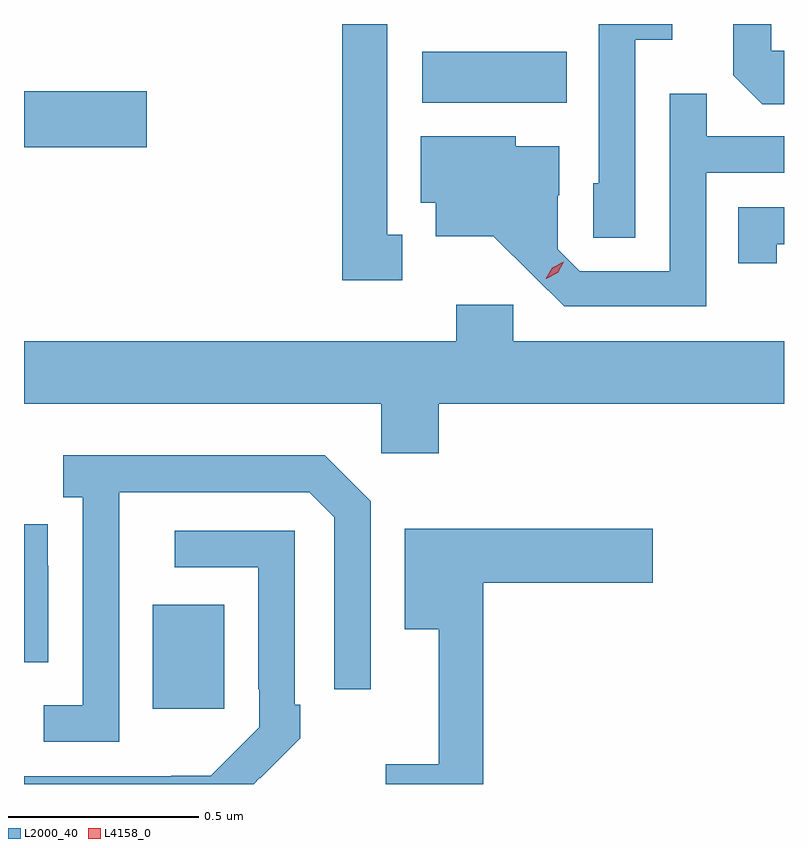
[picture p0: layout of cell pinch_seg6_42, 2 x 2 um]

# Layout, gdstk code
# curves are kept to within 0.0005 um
import gdstk
lib = gdstk.Library(unit=1e-6, precision=1e-09)
def R(c, l, rs):  # rectangles x0, y0, x1, y1
    for r in rs: c.add(gdstk.rectangle(r[:2], r[2:], *l))
def P(c, l, *ps):  # polygons
    for p in ps: c.add(gdstk.Polygon(p, *l))
L2000_40 = (2000, 40)
L4158_0 = (4158, 0)

pinch_seg6_42 = lib.new_cell('pinch_seg6_42')
R(pinch_seg6_42, L2000_40, [(887.027,990.489,887.215,990.763), (886.688,991.967,887.011,992.114), (887.736,992.084,888.116,992.218)])
P(pinch_seg6_42, L2000_40, [(888.688,992.22),(888.654,992.22),(888.654,992.291),(888.555,992.291),(888.555,992.156),(888.631,992.08),(888.688,992.08)],
  [(887.683,991.737),(887.644,991.737),(887.644,992.291),(887.526,992.291),(887.526,991.617),(887.683,991.617)],
  [(888.297,992.249),(888.394,992.249),(888.394,992.291),(888.201,992.291),(888.201,991.872),(888.186,991.872),(888.186,991.729),(888.297,991.729)],
  [(888.483,991.899),(888.688,991.899),(888.688,991.995),(888.485,991.995),(888.485,992.108),(888.387,992.108),(888.387,991.641),(888.15,991.641),(888.093,991.698),(888.093,991.84),(888.097,991.84),(888.097,991.969),(887.982,991.969),(887.982,991.996),(887.732,991.996),(887.732,991.82),(887.771,991.82),(887.771,991.733),(887.923,991.733),(888.11,991.548),(888.483,991.548)],
  [(888.669,991.711),(888.688,991.711),(888.688,991.809),(888.568,991.809),(888.568,991.662),(888.669,991.662)],
  [(886.688,991.292),(887.628,991.292),(887.628,991.161),(887.78,991.161),(887.78,991.292),(888.688,991.292),(888.688,991.456),(887.976,991.456),(887.976,991.552),(887.825,991.552),(887.825,991.456),(886.688,991.456)],
  [(886.938,990.859),(886.939,990.859),(886.939,991.059),(887.439,991.059),(887.505,990.993),(887.505,990.54),(887.601,990.54),(887.601,991.035),(887.48,991.156),(886.791,991.156),(886.791,991.046),(886.842,991.046),(886.842,990.498),(886.74,990.498),(886.74,990.402),(886.938,990.402)],
  [(886.752,990.866),(886.751,990.866),(886.751,990.975),(886.688,990.975),(886.688,990.612),(886.752,990.612)],
  [(887.897,990.821),(888.343,990.821),(888.343,990.963),(887.69,990.963),(887.69,990.698),(887.78,990.698),(887.78,990.343),(887.64,990.343),(887.64,990.291),(887.897,990.291)],
  [(887.309,990.307),(887.31,990.306),(887.415,990.411),(887.415,990.499),(887.4,990.499),(887.4,990.957),(887.085,990.957),(887.085,990.861),(887.304,990.861),(887.304,990.541),(887.307,990.541),(887.307,990.441),(887.179,990.313),(887.075,990.313),(887.075,990.312),(886.688,990.312),(886.688,990.291),(887.293,990.291)])
P(pinch_seg6_42, L4158_0, [(888.061,991.62),(888.061,991.62),(888.078,991.65),(888.108,991.666),(888.108,991.666),(888.108,991.666),(888.092,991.636),(888.062,991.62)])

lib.write_gds('pinch_seg6_42.gds')
